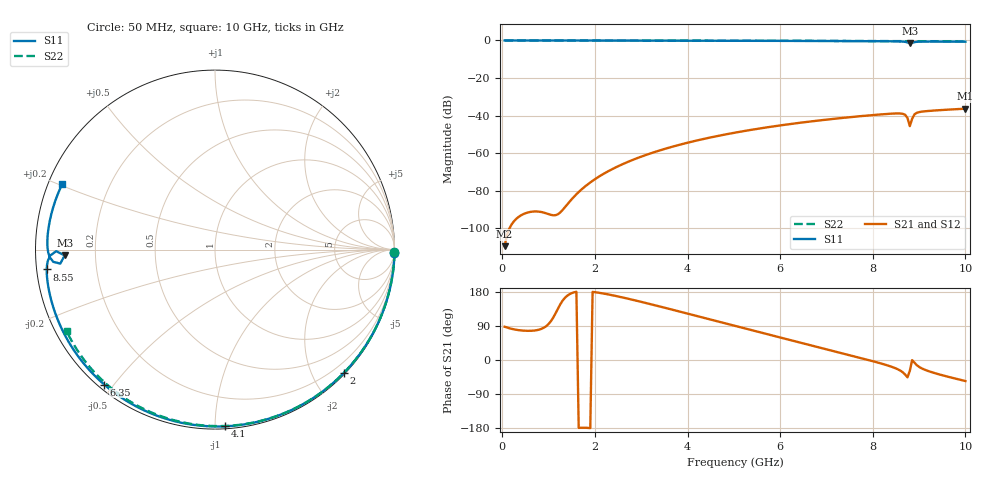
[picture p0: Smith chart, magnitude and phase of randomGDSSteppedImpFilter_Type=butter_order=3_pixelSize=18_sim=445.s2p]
! freq	dB(S11)	phase(S11)	dB(S12)	phase(S12)
!  dB(S21)	phase(S21)	dB(S22)	phase(S22)
!S-par simulation data
#  GHz  S  DB  R 50
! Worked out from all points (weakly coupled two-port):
!   200 points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, 50 MHz to 10 GHz, reference 50 ohm
!   highest |S21| = -36.32 dB at 10 GHz (marker M1); lowest = -109.5 dB at 50 MHz (marker M2)
!   lowest |S11| = -1.5 dB at 8.8 GHz (marker M3), VSWR 11.34, Z = 4.41 - j0.964 ohm
!   |S11| at or under -10 dB: nowhere
!   |S22| runs from -0.5 to 0.0 dB; largest |S21 - S12| = 0
!   S11 on the Smith chart (normalised r, x): 50 MHz: open; 2 GHz: 0.02, -2.48; 4.1 GHz: 0.01, -1.06; 6.35 GHz: 0.02, -0.47; 8.55 GHz: 0.03, -0.06; 10 GHz: 0.04, +0.20
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0.05  -0.00 -1.1  -109.51 87.8  -109.51 87.8  -0.00 -0.9
0.8  -0.02 -17.8  -91.16 80.3  -91.16 80.3  -0.02 -13.9
1.65  -0.05 -36.4  -80.68 -179.2  -80.68 -179.2  -0.04 -28.4
1.75  -0.05 -38.5  -78.49 -178.6  -78.49 -178.6  -0.04 -30.1
2  -0.06 -43.8  -73.87 179.0  -73.87 179.0  -0.04 -34.3
2.6  -0.07 -56.5  -65.84 165.0  -65.84 165.0  -0.06 -44.2
3.4  -0.10 -72.8  -58.53 141.3  -58.53 141.3  -0.08 -57.2
4.1  -0.12 -86.7  -53.84 119.3  -53.84 119.3  -0.09 -68.1
5.05  -0.16 -104.9  -48.97 89.3  -48.97 89.3  -0.13 -82.5
6.35  -0.24 -129.3  -44.07 48.5  -44.07 48.5  -0.19 -101.2
6.7  -0.27 -135.9  -42.99 37.7  -42.99 37.7  -0.21 -106.1
7.55  -0.34 -152.1  -40.73 11.3  -40.73 11.3  -0.26 -117.8
8.35  -0.44 -168.5  -39.05 -15.5  -39.05 -15.5  -0.33 -128.7
8.55  -0.50 -173.3  -38.85 -25.0  -38.85 -25.0  -0.35 -131.4
8.7  -0.74 -177.9  -39.58 -38.5  -39.58 -38.5  -0.36 -133.4
8.75  -1.06 -179.4  -41.32 -45.6  -41.32 -45.6  -0.37 -134.0
8.8  -1.54 -177.8  -45.62 -28.4  -45.62 -28.4  -0.37 -134.7
8.85  -1.25 -174.8  -41.73 -0.3  -41.73 -0.3  -0.37 -135.4
8.9  -0.88 -175.7  -39.35 -7.1  -39.35 -7.1  -0.38 -136.1
8.95  -0.71 -177.3  -38.54 -13.5  -38.54 -13.5  -0.39 -136.8
9.4  -0.59 171.1  -37.17 -36.8  -37.17 -36.8  -0.43 -142.9
10  -0.66 156.9  -36.32 -55.5  -36.32 -55.5  -0.51 -151.1
